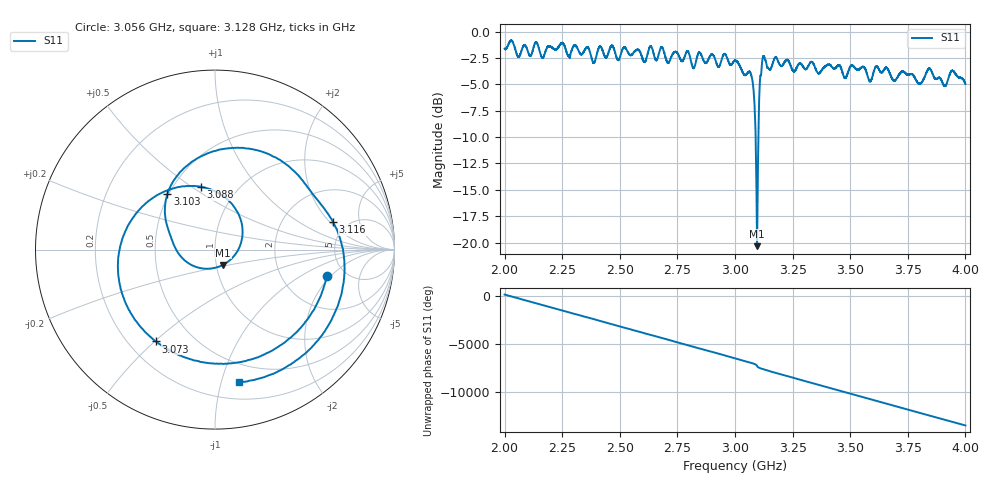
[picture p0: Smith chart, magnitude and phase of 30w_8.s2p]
!Agilent Technologies,E8362B,MY43021131,A.07.50.67
!Agilent E8362B: A.07.50.67
!Date: Thursday, March 14, 2024 14:57:19
!Correction: S11(Off)
!S21(Off)
!S12(Off)
!S22(Off)
!S2P File: Measurements: S11, S21, S12, S22:
# Hz S  RI  R 50
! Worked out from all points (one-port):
!   20001 points, 2 GHz to 4 GHz, reference 50 ohm
!   lowest |S11| = -20.3 dB at 3.096 GHz (marker M1), VSWR 1.21, Z = 53.9 - j9.24 ohm
!   |S11| at or under -10 dB: 3.089697 GHz to 3.101747 GHz (12.05 MHz wide, 0.389 % of centre)
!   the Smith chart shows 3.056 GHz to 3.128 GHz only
!   S11 on the Smith chart (normalised r, x): 3.056 GHz: 3.60, -1.79; 3.073 GHz: 0.31, -0.50; 3.088 GHz: 0.68, +0.55; 3.103 GHz: 0.49, +0.36; 3.116 GHz: 3.86, +2.19; 3.128 GHz: 0.33, -1.14
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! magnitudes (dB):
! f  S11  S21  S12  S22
! 2 GHz  -1.6  -  -  -
! 2.333 GHz  -2.2  -  -  -
! 2.667 GHz  -2.3  -  -  -
! 3 GHz  -2.7  -  -  -
! 3.056 GHz  -3.9  -  -  -
! 3.073 GHz  -4.3  -  -  -
! 3.082 GHz  -5.8  -  -  -
! 3.088 GHz  -8.9  -  -  -
! 3.096 GHz  -20.3  -  -  -
! 3.103 GHz  -7.8  -  -  -
! 3.11 GHz  -4.3  -  -  -
! 3.116 GHz  -3.4  -  -  -
! 3.128 GHz  -2.5  -  -  -
! 3.333 GHz  -2.9  -  -  -
! 3.478 GHz  -4.4  -  -  -
! 3.556 GHz  -3.3  -  -  -
! 3.586 GHz  -4.7  -  -  -
! 3.667 GHz  -3.7  -  -  -
! 3.844 GHz  -3.5  -  -  -
! 3.91 GHz  -5.2  -  -  -
! 3.945 GHz  -3.7  -  -  -
! 4 GHz  -5.0  -  -  -
